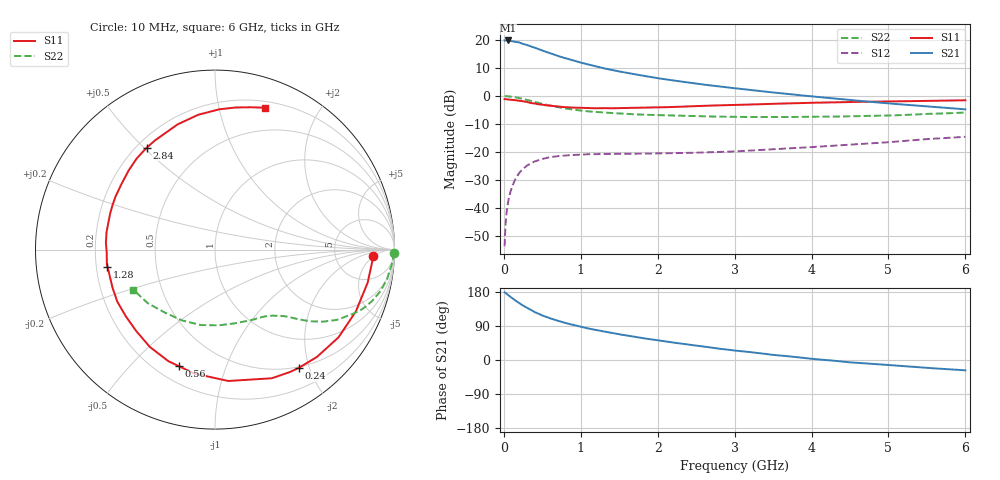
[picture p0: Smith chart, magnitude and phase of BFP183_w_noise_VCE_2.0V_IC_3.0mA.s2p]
! (c) 2016  Infineon Technologies AG, Munich
! Infineon Technologies  Discrete & RF Semiconductors
! BFP183
! VCE = 2.0 V,  IC =  3.0 mA
! Common Emitter S-Parameters:  Jan 2016
# GHz  S  MA  R  50
!  f  S11  S21  S12  S22
! GHz  MAG  ANG  MAG  ANG  MAG  ANG  MAG  ANG
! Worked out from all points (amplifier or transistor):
!   210 points, 10 MHz to 6 GHz, reference 50 ohm
!   highest |S21| = 19.8 dB at 50 MHz (marker M1)
!   |S21| within 3 dB of that: start of sweep to 442.9 MHz
!   unconditionally stable (mu >= 1): 1.839 GHz to 5.828 GHz
!   at 185 MHz: K = 0.12, MSG = 23.6 dB, |S12| = -28.0 dB
!   at 1.52 GHz: K = 0.85, MSG = 14.6 dB, |S12| = -20.6 dB
!   at 6 GHz: K = 0.96, MSG = 4.9 dB, |S12| = -14.6 dB
!   lowest NFmin = 1.10 dB at 450 MHz
!   S11 on the Smith chart (normalised r, x): 10 MHz: 14, -5; 240 MHz: 0.49, -1.84; 560 MHz: 0.29, -0.70; 1.28 GHz: 0.25, -0.07; 2.84 GHz: 0.24, +0.51; 6 GHz: 0.26, +1.38
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0.01  0.88 -2.4  9.744 178.7  0.0021 88.3  0.9968 -1.0
0.025  0.8755 -6.0  9.747 176.5  0.0057 83.8  0.9941 -2.5
0.05  0.8703 -12.2  9.768 172.2  0.0118 86.2  0.988 -4.8
0.15  0.8441 -35.4  9.257 157.1  0.033 71.2  0.9506 -14.1
0.2  0.8248 -46.5  8.992 149.9  0.0425 65.2  0.9202 -18.2
0.24  0.8075 -54.6  8.57 144.8  0.0485 61.2  0.8939 -21.1
0.3  0.7835 -66.2  8.108 137.9  0.0574 55.5  0.8514 -24.7
0.4  0.7358 -84.2  7.295 126.5  0.068 47.5  0.7834 -30.0
0.5  0.6998 -99.6  6.457 117.5  0.0755 40.9  0.7219 -33.8
0.56  0.6798 -107.3  6.046 113.3  0.0788 37.9  0.6923 -35.4
0.6  0.6736 -112.7  5.793 110.1  0.0811 36.1  0.6729 -36.5
0.7  0.6526 -123.8  5.169 103.6  0.0847 32.1  0.6325 -38.5
0.8  0.6312 -134.1  4.716 97.6  0.087 29.2  0.6002 -40.1
1.02  0.6144 -153.4  3.87 86.7  0.0904 24.2  0.5456 -43.1
1.28  0.6068 -171.0  3.16 76.1  0.0921 20.6  0.509 -46.4
1.6  0.6121 170.9  2.585 64.5  0.0934 18.7  0.4802 -50.3
2.02  0.6279 152.0  2.055 51.3  0.0947 18.9  0.4542 -56.5
2.84  0.6836 123.7  1.454 28.9  0.1008 21.4  0.427 -72.2
3.1  0.6982 116.4  1.327 23.0  0.1044 22.4  0.4228 -78.0
4.1  0.7604 95.3  0.955 1.5  0.1251 24.8  0.4272 -103.7
5.1  0.8027 80.6  0.719 -14.8  0.1538 24.2  0.4527 -131.2
6  0.8382 70.6  0.578 -27.3  0.1871 18.3  0.5073 -153.9
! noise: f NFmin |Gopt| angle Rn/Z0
0.45  1.1  0.37  35  0.3
0.9  1.15  0.34  85  0.23
1.8  1.9  0.35  160  0.13
